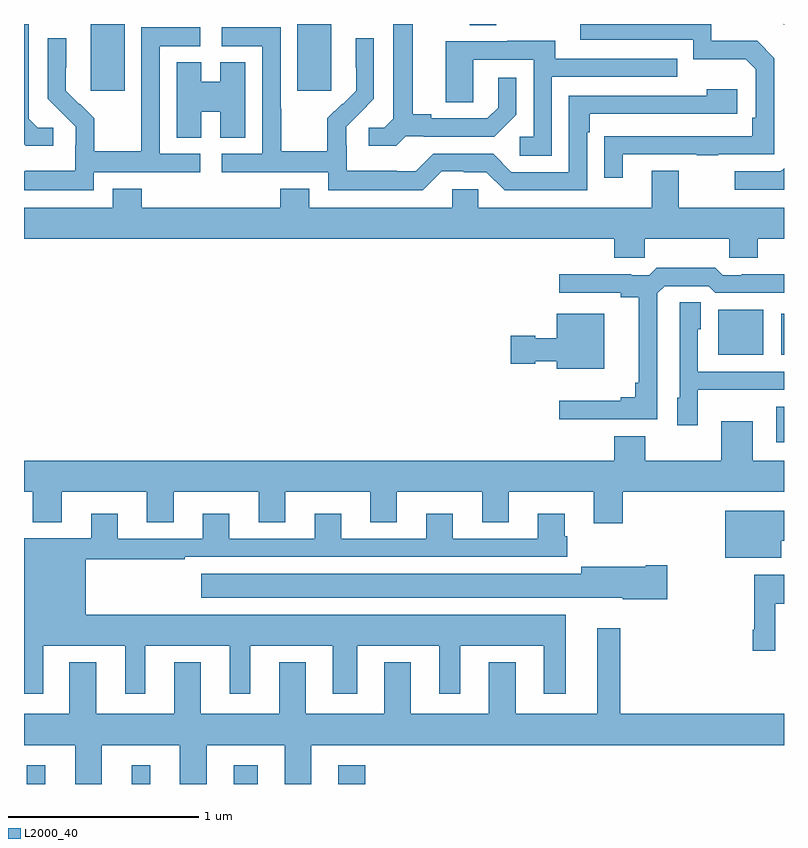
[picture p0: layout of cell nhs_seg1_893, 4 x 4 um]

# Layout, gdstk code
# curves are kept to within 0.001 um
import gdstk
lib = gdstk.Library(unit=1e-6, precision=1e-09)
def R(c, l, rs):  # rectangles x0, y0, x1, y1
    for r in rs: c.add(gdstk.rectangle(r[:2], r[2:], *l))
def P(c, l, *ps):  # polygons
    for p in ps: c.add(gdstk.Polygon(p, *l))
L2000_40 = (2000, 40)

nhs_seg1_893 = lib.new_cell('nhs_seg1_893')
R(nhs_seg1_893, L2000_40, [(159.014,546.199,159.112,546.298), (159.566,546.199,159.664,546.298), (160.103,546.199,160.231,546.298), (160.655,546.199,160.796,546.298), (162.959,547.998,163,548.184), (162.653,548.459,162.892,548.695), (162.986,548.459,163,548.674), (159.35,549.849,159.529,550.199), (160.439,549.849,160.618,550.199), (161.345,550.192,161.485,550.199)])
P(nhs_seg1_893, L2000_40, [(159.154,549.654),(159.072,549.654),(159.025,549.701),(159.025,550.199),(159,550.199),(159,549.567),(159.01,549.557),(159.154,549.557)],
  [(162.151,549.513),(162.541,549.513),(162.541,549.508),(162.653,549.508),(162.653,549.513),(162.948,549.513),(162.948,550.02),(162.858,550.11),(162.618,550.11),(162.618,550.199),(161.927,550.199),(161.927,550.116),(162.522,550.116),(162.522,550.013),(162.799,550.013),(162.852,549.96),(162.852,549.706),(162.832,549.706),(162.832,549.609),(162.055,549.608),(162.055,549.39),(162.151,549.39)],
  [(163,550.199),(162.997,550.199),(163,550.196)],
  [(161.01,549.609),(161.104,549.609),(161.104,549.606),(161.476,549.606),(161.592,549.722),(161.592,549.916),(161.495,549.916),(161.495,549.759),(161.438,549.702),(161.143,549.702),(161.143,549.725),(161.047,549.725),(161.047,550.199),(160.943,550.199),(160.943,549.701),(160.896,549.654),(160.815,549.654),(160.815,549.557),(160.958,549.557)],
  [(161.199,549.423),(161.315,549.423),(161.315,549.42),(161.433,549.42),(161.529,549.324),(161.964,549.324),(161.964,549.629),(161.977,549.629),(161.977,549.726),(162.754,549.726),(162.754,549.856),(162.593,549.856),(162.593,549.822),(161.868,549.822),(161.868,549.42),(161.565,549.42),(161.469,549.516),(161.154,549.516),(161.061,549.423),(160.961,549.423),(160.961,549.427),(160.698,549.427),(160.698,549.561),(160.696,549.561),(160.696,549.658),(160.842,549.806),(160.842,550.124),(160.746,550.124),(160.746,549.97),(160.748,549.97),(160.748,549.848),(160.677,549.777),(160.674,549.78),(160.597,549.703),(160.597,549.529),(160.353,549.529),(160.353,549.752),(160.35,549.752),(160.35,550.182),(160.041,550.182),(160.041,550.083),(160.254,550.083),(160.254,549.516),(160.041,549.516),(160.041,549.42),(160.602,549.42),(160.602,549.323),(161.099,549.323)],
  [(159.366,549.42),(159.928,549.42),(159.928,549.516),(159.714,549.516),(159.714,550.083),(159.928,550.083),(159.928,550.182),(159.618,550.182),(159.618,549.752),(159.616,549.752),(159.616,549.529),(159.371,549.529),(159.371,549.703),(159.294,549.78),(159.291,549.777),(159.221,549.848),(159.222,550.124),(159.126,550.124),(159.126,549.806),(159.272,549.658),(159.272,549.561),(159.27,549.561),(159.27,549.427),(159.007,549.427),(159.007,549.423),(159,549.423),(159,549.323),(159.366,549.323)],
  [(161.778,549.921),(162.437,549.921),(162.437,550.017),(161.797,550.017),(161.797,550.111),(161.543,550.111),(161.543,550.107),(161.219,550.107),(161.219,549.787),(161.364,549.787),(161.364,550.011),(161.682,550.011),(161.682,549.606),(161.61,549.606),(161.61,549.505),(161.778,549.505)],
  [(159.934,549.737),(160.034,549.737),(160.034,549.601),(160.165,549.601),(160.165,549.998),(160.034,549.998),(160.034,549.895),(159.934,549.895),(159.934,549.998),(159.803,549.998),(159.803,549.601),(159.934,549.601)],
  [(163,549.439),(162.984,549.423),(162.741,549.423),(162.741,549.327),(163,549.327)],
  [(161.391,549.33),(161.253,549.33),(161.253,549.232),(160.501,549.232),(160.501,549.331),(160.349,549.331),(160.349,549.232),(159.62,549.232),(159.62,549.331),(159.467,549.331),(159.467,549.232),(159,549.232),(159,549.068),(162.107,549.068),(162.107,548.97),(162.267,548.97),(162.267,549.068),(162.712,549.068),(162.712,548.97),(162.862,548.97),(162.862,549.068),(163,549.068),(163,549.232),(162.445,549.232),(162.445,549.427),(162.305,549.427),(162.305,549.232),(161.391,549.232)],
  [(162.333,548.781),(162.372,548.82),(162.603,548.82),(162.639,548.784),(163,548.784),(163,548.882),(162.778,548.882),(162.778,548.877),(162.678,548.877),(162.639,548.917),(162.331,548.917),(162.291,548.877),(162.197,548.877),(162.197,548.882),(161.817,548.882),(161.817,548.784),(162.14,548.784),(162.14,548.762),(162.236,548.762),(162.236,548.311),(162.217,548.311),(162.217,548.234),(162.14,548.234),(162.14,548.215),(161.817,548.215),(161.817,548.118),(162.333,548.118)],
  [(162.546,548.273),(162.863,548.273),(162.863,548.274),(163,548.274),(163,548.37),(162.546,548.37),(162.546,548.592),(162.562,548.592),(162.562,548.735),(162.45,548.735),(162.45,548.232),(162.437,548.232),(162.437,548.088),(162.546,548.088)],
  [(162.055,548.674),(161.804,548.674),(161.804,548.545),(161.691,548.545),(161.691,548.558),(161.562,548.558),(161.562,548.411),(161.691,548.411),(161.691,548.423),(161.804,548.423),(161.804,548.384),(162.055,548.384)],
  [(162.152,547.736),(163,547.736),(163,547.9),(162.835,547.9),(162.835,548.107),(162.671,548.107),(162.671,547.9),(162.271,547.9),(162.271,548.029),(162.107,548.029),(162.107,547.9),(159,547.9),(159,547.736),(159.047,547.736),(159.047,547.577),(159.199,547.577),(159.199,547.736),(159.647,547.736),(159.647,547.576),(159.787,547.576),(159.787,547.736),(160.235,547.736),(160.235,547.576),(160.375,547.576),(160.375,547.736),(160.823,547.736),(160.823,547.576),(160.963,547.576),(160.963,547.736),(161.411,547.736),(161.411,547.576),(161.551,547.576),(161.551,547.736),(161.999,547.736),(161.999,547.572),(162.152,547.572)],
  [(162.985,547.478),(163,547.478),(163,547.636),(162.692,547.636),(162.692,547.391),(162.985,547.391)],
  [(159.1,546.926),(159.533,546.926),(159.533,546.675),(159.637,546.675),(159.637,546.926),(160.082,546.926),(160.082,546.675),(160.192,546.675),(160.192,546.926),(160.625,546.926),(160.625,546.675),(160.753,546.675),(160.753,546.926),(161.186,546.926),(161.186,546.675),(161.296,546.675),(161.296,546.926),(161.735,546.926),(161.735,546.675),(161.851,546.675),(161.851,547.09),(159.325,547.09),(159.325,547.383),(159.845,547.383),(159.845,547.395),(161.858,547.395),(161.858,547.503),(161.845,547.503),(161.845,547.621),(161.705,547.621),(161.705,547.491),(161.257,547.491),(161.257,547.621),(161.117,547.621),(161.117,547.491),(160.669,547.491),(160.669,547.621),(160.529,547.621),(160.529,547.491),(160.081,547.491),(160.081,547.621),(159.941,547.621),(159.941,547.491),(159.493,547.491),(159.493,547.621),(159.353,547.621),(159.353,547.492),(159,547.492),(159,546.675),(159.1,546.675)],
  [(162.385,547.35),(162.272,547.35),(162.272,547.342),(161.933,547.342),(161.933,547.306),(159.933,547.306),(159.933,547.178),(162.15,547.178),(162.15,547.172),(162.385,547.172)],
  [(162.953,547.148),(163,547.148),(163,547.3),(162.843,547.3),(162.843,547.012),(162.835,547.012),(162.835,546.9),(162.953,546.9)],
  [(159.409,546.404),(159.821,546.404),(159.821,546.199),(159.961,546.199),(159.961,546.404),(160.373,546.404),(160.373,546.199),(160.513,546.199),(160.513,546.404),(163,546.404),(163,546.568),(162.139,546.568),(162.139,547.018),(162.017,547.018),(162.017,546.568),(161.587,546.568),(161.587,546.841),(161.447,546.841),(161.447,546.568),(161.035,546.568),(161.035,546.841),(160.895,546.841),(160.895,546.568),(160.483,546.568),(160.483,546.841),(160.343,546.841),(160.343,546.568),(159.931,546.568),(159.931,546.841),(159.791,546.841),(159.791,546.568),(159.379,546.568),(159.379,546.841),(159.239,546.841),(159.239,546.568),(159,546.568),(159,546.404),(159.269,546.404),(159.269,546.199),(159.409,546.199)])

lib.write_gds('nhs_seg1_893.gds')
